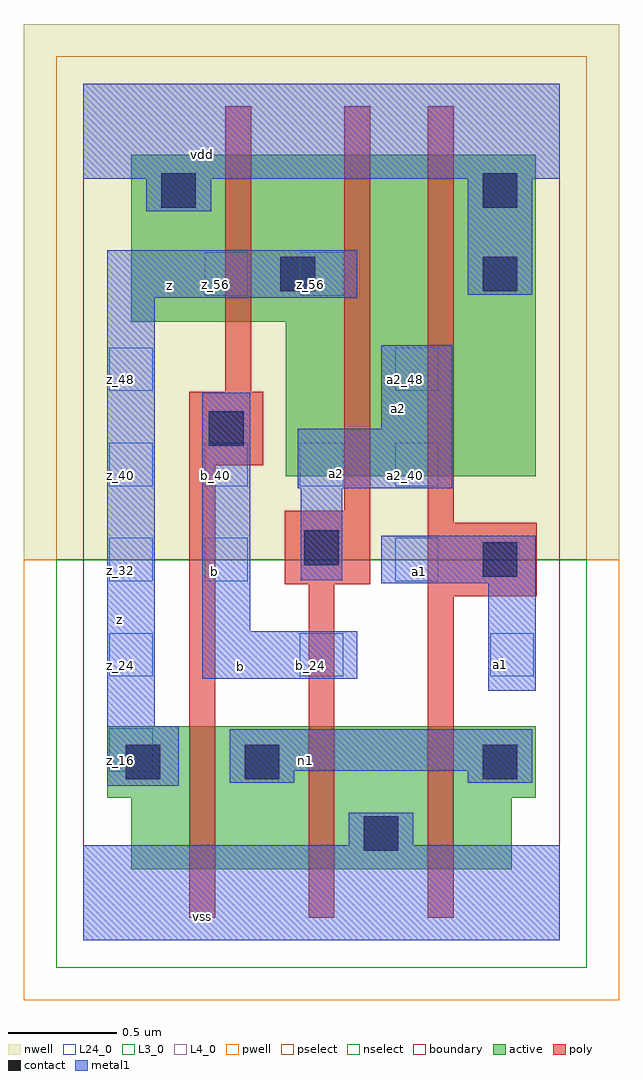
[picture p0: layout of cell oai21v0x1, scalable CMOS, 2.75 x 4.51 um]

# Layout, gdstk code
import gdstk
lib = gdstk.Library(unit=1e-6, precision=2.5e-09)
def R(c, l, rs):  # rectangles x0, y0, x1, y1
    for r in rs: c.add(gdstk.rectangle(r[:2], r[2:], *l))
def A(c, l, x, y, w, h, nx, ny, dx, dy):  # array of equal rectangles
    R(c, l, [(x+i*dx, y+j*dy, x+i*dx+w, y+j*dy+h) for i in range(nx) for j in range(ny)])
L3_0 = (3, 0)
L4_0 = (4, 0)
L24_0 = (24, 0)
contact = (25, 0)
pwell = (41, 0)
nwell = (42, 0)
active = (43, 0)
pselect = (44, 0)
nselect = (45, 0)
poly = (46, 0)
metal1 = (49, 0)
boundary = (63, 0)

oai21v0x1 = lib.new_cell('oai21v0x1')
R(oai21v0x1, L3_0, [(0.22,0.33,1.98,0.66), (0.11,0.66,2.09,0.99)])
R(oai21v0x1, L4_0, [(0.935,2.145,2.09,2.86), (0.22,2.86,2.09,3.63)])
A(oai21v0x1, L24_0, 0.12, 0.78, 0.2, 0.2, 1, 3, 0, 0.88)
A(oai21v0x1, L24_0, 0.12, 1.22, 0.2, 0.2, 3, 1, 0.88, 0)
A(oai21v0x1, L24_0, 0.12, 2.1, 0.2, 0.2, 4, 1, 0.44, 0)
R(oai21v0x1, L24_0, [(0.56,1.66,0.76,1.86), (1.44,1.66,1.64,1.86), (1.44,2.54,1.64,2.74), (0.56,2.98,0.76,3.18), (1,2.98,1.2,3.18)])
R(oai21v0x1, contact, [(1.295,0.415,1.455,0.575), (0.195,0.745,0.355,0.905), (0.745,0.745,0.905,0.905), (1.845,0.745,2.005,0.905), (1.845,1.68,2.005,1.84), (1.02,1.735,1.18,1.895), (0.58,2.285,0.74,2.445), (0.91,3,1.07,3.16), (1.845,3,2.005,3.16), (0.36,3.385,0.52,3.545), (1.845,3.385,2.005,3.545)])
R(oai21v0x1, pwell, [(-0.275,-0.275,2.475,1.76)])
R(oai21v0x1, nwell, [(-0.275,1.76,2.475,4.235)])
R(oai21v0x1, active, [(0.22,0.33,1.98,0.66), (0.11,0.66,2.09,0.99), (0.935,2.145,2.09,2.86), (0.22,2.86,2.09,3.63)])
R(oai21v0x1, pselect, [(-0.125,1.76,2.325,4.085)])
R(oai21v0x1, nselect, [(-0.125,-0.125,2.325,1.76)])
R(oai21v0x1, poly, [(0.49,0.105,0.61,2.195), (1.04,0.105,1.16,1.645), (1.59,0.105,1.71,1.59), (1.59,1.59,2.095,1.93), (0.93,1.645,1.325,1.985), (1.59,1.93,1.71,3.855), (1.205,1.985,1.325,3.855), (0.49,2.195,0.83,2.535), (0.655,2.535,0.775,3.855)])
R(oai21v0x1, metal1, [(0,0,2.2,0.44), (1.225,0.44,1.525,0.59), (0.11,0.715,0.44,0.99), (0.675,0.73,0.975,0.785), (1.775,0.73,2.075,0.785), (0.675,0.785,2.075,0.975), (0.11,0.99,0.33,2.97), (1.87,1.155,2.09,1.65), (0.55,1.21,1.265,1.43), (0.55,1.43,0.77,2.53), (1.375,1.65,2.09,1.87), (1.005,1.665,1.195,2.09), (0.99,2.09,1.705,2.365), (1.375,2.365,1.705,2.75), (0.11,2.97,1.265,3.19), (1.775,2.985,2.075,3.52), (0.29,3.37,0.59,3.52), (0,3.52,2.2,3.96)])
R(oai21v0x1, boundary, [(0,0,2.2,3.96)])
oai21v0x1.add(gdstk.Label('vss', (0.55,0.11), layer=49, texttype=0))
oai21v0x1.add(gdstk.Label('n1', (1.025,0.8325), layer=49, texttype=0))
oai21v0x1.add(gdstk.Label('a1', (1.925,1.2775), layer=49, texttype=0))
oai21v0x1.add(gdstk.Label('b', (0.7275,1.265), layer=49, texttype=0))
oai21v0x1.add(gdstk.Label('a1', (1.5525,1.705), layer=49, texttype=0))
oai21v0x1.add(gdstk.Label('a2', (1.1675,2.1575), layer=49, texttype=0))
oai21v0x1.add(gdstk.Label('a2', (1.4575,2.46), layer=49, texttype=0))
oai21v0x1.add(gdstk.Label('b', (0.605,1.705), layer=49, texttype=0))
oai21v0x1.add(gdstk.Label('z', (0.165,1.485), layer=49, texttype=0))
oai21v0x1.add(gdstk.Label('z', (0.3975,3.025), layer=49, texttype=0))
oai21v0x1.add(gdstk.Label('vdd', (0.55,3.63), layer=49, texttype=0))
oai21v0x1.add(gdstk.Label('z_48', (0.17,2.59), layer=24, texttype=0))
oai21v0x1.add(gdstk.Label('z_40', (0.17,2.15), layer=24, texttype=0))
oai21v0x1.add(gdstk.Label('z_32', (0.17,1.71), layer=24, texttype=0))
oai21v0x1.add(gdstk.Label('z_24', (0.17,1.27), layer=24, texttype=0))
oai21v0x1.add(gdstk.Label('z_16', (0.17,0.83), layer=24, texttype=0))
oai21v0x1.add(gdstk.Label('a1_24', (1.93,1.27), layer=24, texttype=0))
oai21v0x1.add(gdstk.Label('a2_48', (1.49,2.59), layer=24, texttype=0))
oai21v0x1.add(gdstk.Label('a2_40', (1.49,2.15), layer=24, texttype=0))
oai21v0x1.add(gdstk.Label('a1_32', (1.49,1.71), layer=24, texttype=0))
oai21v0x1.add(gdstk.Label('z_56', (1.05,3.03), layer=24, texttype=0))
oai21v0x1.add(gdstk.Label('a2_40', (1.05,2.15), layer=24, texttype=0))
oai21v0x1.add(gdstk.Label('b_24', (1.05,1.27), layer=24, texttype=0))
oai21v0x1.add(gdstk.Label('z_56', (0.61,3.03), layer=24, texttype=0))
oai21v0x1.add(gdstk.Label('b_40', (0.61,2.15), layer=24, texttype=0))
oai21v0x1.add(gdstk.Label('b_32', (0.61,1.71), layer=24, texttype=0))

lib.write_gds('oai21v0x1.gds')
